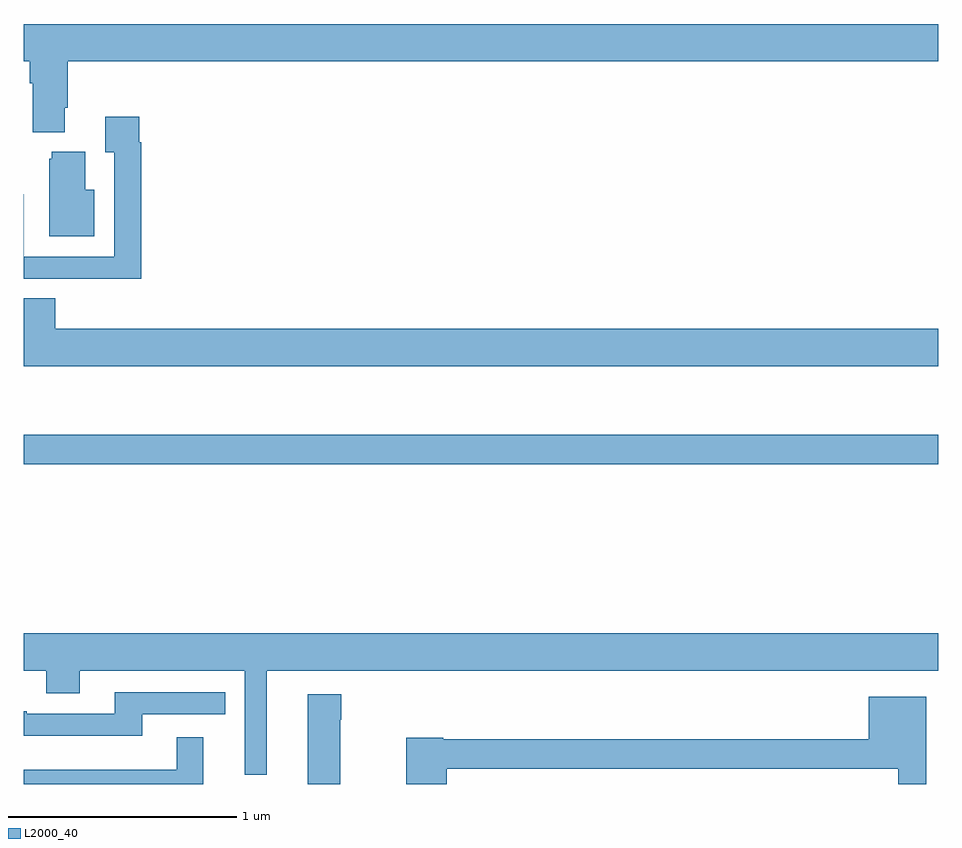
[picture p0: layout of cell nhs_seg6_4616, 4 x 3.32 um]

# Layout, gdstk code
import gdstk
lib = gdstk.Library(unit=1e-6, precision=1e-09)
def R(c, l, rs):  # rectangles x0, y0, x1, y1
    for r in rs: c.add(gdstk.rectangle(r[:2], r[2:], *l))
def P(c, l, *ps):  # polygons
    for p in ps: c.add(gdstk.Polygon(p, *l))
L2000_40 = (2000, 40)

nhs_seg6_4616 = lib.new_cell('nhs_seg6_4616')
R(nhs_seg6_4616, L2000_40, [(383,954.898,387,955.027)])
P(nhs_seg6_4616, L2000_40, [(383.179,956.458),(383.192,956.458),(383.192,956.66),(387,956.66),(387,956.824),(383,956.824),(383,956.66),(383.027,956.66),(383.027,956.564),(383.039,956.564),(383.039,956.351),(383.179,956.351)],
  [(383.513,956.306),(383.506,956.306),(383.506,956.419),(383.357,956.419),(383.357,956.263),(383.397,956.263),(383.397,955.806),(383.001,955.806),(383.001,956.08),(383,956.08),(383,955.71),(383.221,955.71),(383.221,955.709),(383.513,955.709)],
  [(383.308,956.098),(383.269,956.098),(383.269,956.266),(383.123,956.266),(383.123,956.235),(383.111,956.235),(383.111,955.895),(383.308,955.895)],
  [(387,955.492),(383.138,955.492),(383.138,955.625),(383,955.625),(383,955.328),(387,955.328)],
  [(384.064,953.996),(387,953.996),(387,954.16),(383,954.16),(383,953.996),(383.098,953.996),(383.098,953.897),(383.245,953.897),(383.245,953.996),(383.967,953.996),(383.967,953.541),(384.064,953.541)],
  [(383.518,953.805),(383.882,953.805),(383.882,953.901),(383.399,953.901),(383.399,953.808),(383.013,953.808),(383.013,953.818),(383,953.818),(383,953.711),(383.518,953.711)],
  [(384.384,953.78),(384.389,953.78),(384.389,953.893),(384.242,953.893),(384.242,953.5),(384.384,953.5)],
  [(384.851,953.566),(386.826,953.566),(386.826,953.5),(386.947,953.5),(386.947,953.881),(386.696,953.881),(386.696,953.695),(384.834,953.695),(384.834,953.703),(384.673,953.703),(384.673,953.5),(384.851,953.5)],
  [(383.785,953.704),(383.669,953.704),(383.669,953.563),(383,953.563),(383,953.5),(383.785,953.5)])

lib.write_gds('nhs_seg6_4616.gds')
